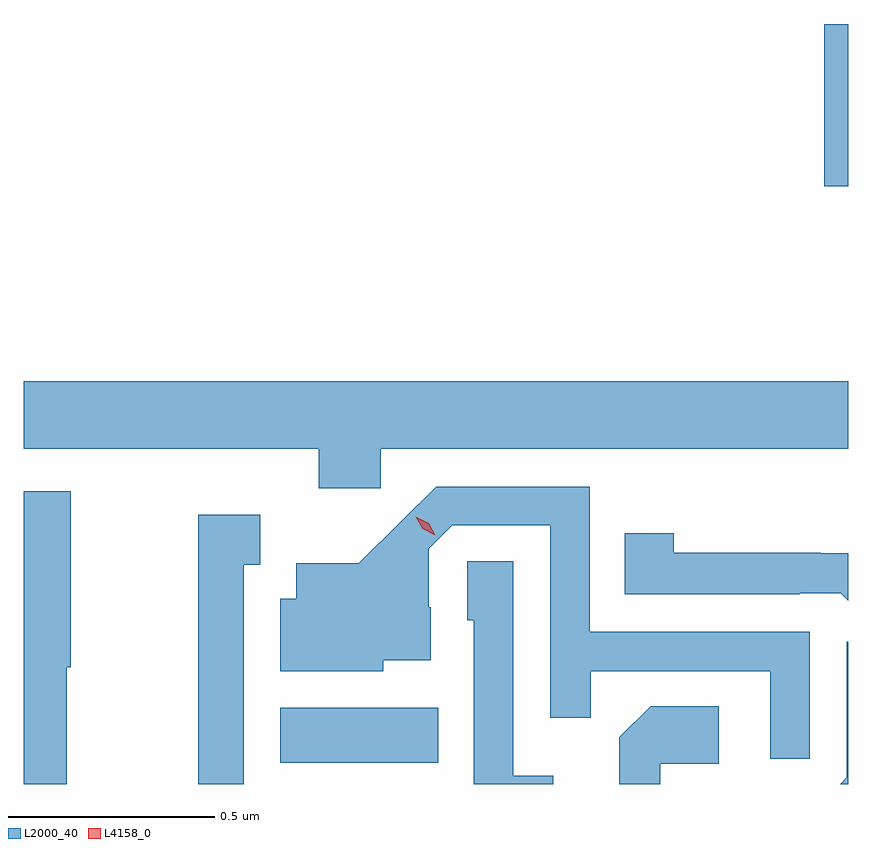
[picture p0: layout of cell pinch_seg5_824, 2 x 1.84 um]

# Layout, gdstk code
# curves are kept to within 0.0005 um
import gdstk
lib = gdstk.Library(unit=1e-6, precision=1e-09)
def R(c, l, rs):  # rectangles x0, y0, x1, y1
    for r in rs: c.add(gdstk.rectangle(r[:2], r[2:], *l))
def P(c, l, *ps):  # polygons
    for p in ps: c.add(gdstk.Polygon(p, *l))
L2000_40 = (2000, 40)
L4158_0 = (4158, 0)

pinch_seg5_824 = lib.new_cell('pinch_seg5_824')
R(pinch_seg5_824, L2000_40, [(804.482,894.626,804.866,894.76), (805.802,896.025,805.86,896.419)])
P(pinch_seg5_824, L2000_40, [(804.726,895.388),(805.86,895.388),(805.86,895.552),(803.86,895.552),(803.86,895.388),(804.575,895.388),(804.575,895.293),(804.726,895.293)],
  [(805.767,894.945),(805.233,894.945),(805.233,895.296),(804.86,895.296),(804.673,895.111),(804.521,895.111),(804.521,895.024),(804.482,895.024),(804.482,894.848),(804.732,894.848),(804.732,894.875),(804.847,894.875),(804.847,895.004),(804.843,895.004),(804.843,895.146),(804.9,895.203),(805.137,895.203),(805.137,894.736),(805.235,894.736),(805.235,894.849),(805.671,894.849),(805.671,894.636),(805.767,894.636)],
  [(803.964,894.858),(803.974,894.858),(803.974,895.285),(803.86,895.285),(803.86,894.575),(803.964,894.575)],
  [(804.394,895.107),(804.433,895.107),(804.433,895.228),(804.283,895.228),(804.283,894.575),(804.394,894.575)],
  [(805.86,895.135),(805.793,895.135),(805.793,895.136),(805.437,895.136),(805.437,895.183),(805.318,895.183),(805.318,895.035),(805.742,895.035),(805.742,895.038),(805.842,895.038),(805.86,895.02)],
  [(805.144,894.595),(805.047,894.595),(805.047,895.115),(804.936,895.115),(804.936,894.972),(804.951,894.972),(804.951,894.575),(805.144,894.575)],
  [(805.86,894.92),(805.857,894.92),(805.857,894.591),(805.841,894.575),(805.86,894.575)],
  [(805.404,894.624),(805.546,894.624),(805.546,894.764),(805.381,894.764),(805.305,894.688),(805.305,894.575),(805.404,894.575)])
P(pinch_seg5_824, L4158_0, [(804.858,895.178),(804.828,895.194),(804.811,895.223),(804.811,895.224),(804.811,895.224),(804.842,895.208),(804.858,895.178),(804.858,895.178)])

lib.write_gds('pinch_seg5_824.gds')
